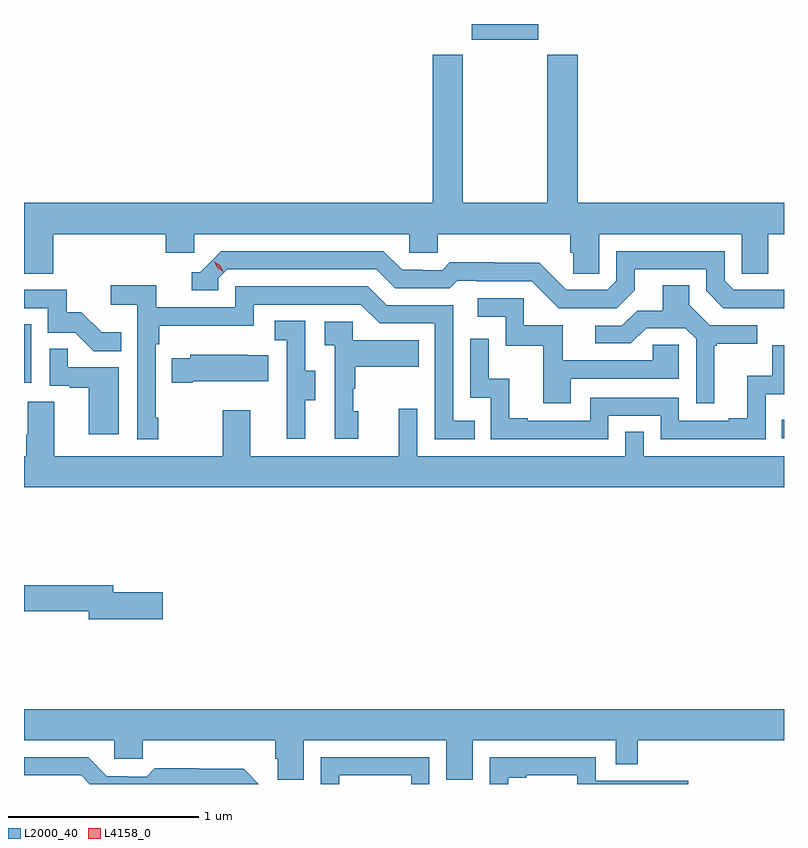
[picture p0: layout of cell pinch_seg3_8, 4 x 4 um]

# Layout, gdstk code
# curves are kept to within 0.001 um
import gdstk
lib = gdstk.Library(unit=1e-6, precision=1e-09)
def R(c, l, rs):  # rectangles x0, y0, x1, y1
    for r in rs: c.add(gdstk.rectangle(r[:2], r[2:], *l))
def P(c, l, *ps):  # polygons
    for p in ps: c.add(gdstk.Polygon(p, *l))
L2000_40 = (2000, 40)
L4158_0 = (4158, 0)

pinch_seg3_8 = lib.new_cell('pinch_seg3_8')
R(pinch_seg3_8, L2000_40, [(1130.251,742.467,1130.263,742.564), (1126.263,742.758,1126.3,743.065), (1128.62,744.563,1128.97,744.646)])
P(pinch_seg3_8, L2000_40, [(1126.418,743.54),(1127.009,743.54),(1127.009,743.442),(1127.16,743.442),(1127.16,743.54),(1128.291,743.54),(1128.291,743.442),(1128.441,743.442),(1128.441,743.54),(1129.139,743.54),(1129.139,743.442),(1129.153,743.442),(1129.153,743.332),(1129.29,743.332),(1129.29,743.54),(1130.04,743.54),(1130.04,743.332),(1130.179,743.332),(1130.179,743.54),(1130.263,743.54),(1130.263,743.704),(1129.178,743.704),(1129.178,744.484),(1129.018,744.484),(1129.018,743.704),(1128.573,743.704),(1128.573,744.484),(1128.413,744.484),(1128.413,743.704),(1126.263,743.704),(1126.263,743.332),(1126.418,743.332)],
  [(1130.263,743.247),(1129.998,743.247),(1129.95,743.295),(1129.95,743.451),(1129.38,743.451),(1129.38,743.295),(1129.332,743.247),(1129.116,743.247),(1128.974,743.389),(1128.738,743.389),(1128.738,743.392),(1128.505,743.392),(1128.463,743.349),(1128.36,743.349),(1128.36,743.352),(1128.253,743.352),(1128.154,743.451),(1127.301,743.451),(1127.19,743.34),(1127.147,743.34),(1127.147,743.244),(1127.286,743.244),(1127.286,743.307),(1127.334,743.355),(1128.117,743.355),(1128.216,743.256),(1128.505,743.256),(1128.544,743.295),(1128.643,743.295),(1128.643,743.292),(1128.936,743.292),(1129.077,743.151),(1129.383,743.151),(1129.477,743.245),(1129.477,743.355),(1129.854,743.355),(1129.854,743.241),(1129.944,743.151),(1130.263,743.15)],
  [(1126.969,742.573),(1126.956,742.573),(1126.956,742.961),(1126.976,742.961),(1126.976,743.057),(1127.472,743.057),(1127.472,743.169),(1128.036,743.169),(1128.135,743.07),(1128.426,743.07),(1128.426,742.461),(1128.635,742.461),(1128.635,742.557),(1128.522,742.557),(1128.522,743.166),(1128.172,743.166),(1128.073,743.265),(1127.376,743.265),(1127.376,743.154),(1126.958,743.154),(1126.958,743.27),(1126.719,743.27),(1126.719,743.168),(1126.86,743.168),(1126.86,742.461),(1126.969,742.461)],
  [(1129.897,742.953),(1129.909,742.953),(1129.909,742.964),(1130.122,742.964),(1130.122,743.061),(1129.872,743.061),(1129.765,743.168),(1129.765,743.27),(1129.625,743.27),(1129.625,743.138),(1129.49,743.138),(1129.41,743.058),(1129.269,743.058),(1129.269,742.965),(1129.456,742.965),(1129.537,743.046),(1129.743,743.046),(1129.8,742.989),(1129.8,742.65),(1129.897,742.65)],
  [(1126.775,743.023),(1126.671,743.023),(1126.564,743.13),(1126.488,743.13),(1126.488,743.247),(1126.263,743.247),(1126.263,743.151),(1126.389,743.151),(1126.389,743.022),(1126.533,743.022),(1126.631,742.924),(1126.775,742.924)],
  [(1129.141,742.779),(1129.71,742.779),(1129.71,742.959),(1129.573,742.959),(1129.573,742.875),(1129.099,742.875),(1129.099,743.061),(1128.894,743.061),(1128.894,743.202),(1128.651,743.202),(1128.651,743.106),(1128.798,743.106),(1128.798,742.953),(1128.997,742.953),(1128.997,742.65),(1129.141,742.65)],
  [(1127.743,742.666),(1127.797,742.666),(1127.797,742.821),(1127.742,742.821),(1127.742,743.084),(1127.583,743.084),(1127.583,742.981),(1127.646,742.981),(1127.646,742.677),(1127.645,742.677),(1127.645,742.464),(1127.743,742.464)],
  [(1128.022,742.608),(1127.997,742.608),(1127.997,742.727),(1128.007,742.727),(1128.007,742.841),(1128.341,742.841),(1128.341,742.981),(1127.994,742.981),(1127.994,743.079),(1127.847,743.079),(1127.847,742.955),(1127.898,742.955),(1127.898,742.464),(1128.022,742.464)],
  [(1129.338,742.584),(1129.614,742.584),(1129.614,742.461),(1130.166,742.461),(1130.166,742.697),(1130.263,742.697),(1130.263,742.956),(1130.202,742.956),(1130.202,742.795),(1130.069,742.795),(1130.069,742.57),(1129.973,742.57),(1129.973,742.557),(1129.71,742.557),(1129.71,742.68),(1129.242,742.68),(1129.242,742.557),(1128.913,742.557),(1128.913,742.57),(1128.818,742.57),(1128.818,742.778),(1128.708,742.778),(1128.708,742.99),(1128.612,742.99),(1128.612,742.68),(1128.72,742.68),(1128.72,742.461),(1129.338,742.461)],
  [(1126.762,742.839),(1126.493,742.839),(1126.493,742.937),(1126.398,742.937),(1126.398,742.743),(1126.505,742.743),(1126.505,742.731),(1126.604,742.731),(1126.604,742.488),(1126.762,742.488)],
  [(1127.152,742.766),(1127.549,742.766),(1127.549,742.903),(1127.441,742.903),(1127.441,742.906),(1127.139,742.906),(1127.139,742.888),(1127.041,742.888),(1127.041,742.759),(1127.152,742.759)],
  [(1130.263,742.372),(1129.524,742.372),(1129.524,742.499),(1129.428,742.499),(1129.428,742.372),(1128.333,742.372),(1128.333,742.621),(1128.236,742.621),(1128.236,742.372),(1127.455,742.372),(1127.455,742.612),(1127.308,742.612),(1127.308,742.372),(1126.423,742.372),(1126.423,742.658),(1126.283,742.658),(1126.283,742.484),(1126.276,742.484),(1126.276,742.372),(1126.263,742.372),(1126.263,742.208),(1130.263,742.208)],
  [(1126.993,741.656),(1126.732,741.656),(1126.732,741.692),(1126.263,741.692),(1126.263,741.556),(1126.604,741.556),(1126.604,741.514),(1126.993,741.514)],
  [(1127.736,740.876),(1128.486,740.876),(1128.486,740.668),(1128.625,740.668),(1128.625,740.876),(1129.377,740.876),(1129.377,740.749),(1129.493,740.749),(1129.493,740.876),(1130.263,740.876),(1130.263,741.04),(1126.263,741.04),(1126.263,740.876),(1126.737,740.876),(1126.737,740.778),(1126.887,740.778),(1126.887,740.876),(1127.585,740.876),(1127.585,740.778),(1127.599,740.778),(1127.599,740.668),(1127.736,740.668)],
  [(1127.42,740.725),(1127.184,740.725),(1127.184,740.728),(1126.951,740.728),(1126.909,740.685),(1126.806,740.685),(1126.806,740.688),(1126.699,740.688),(1126.6,740.787),(1126.263,740.787),(1126.263,740.691),(1126.563,740.691),(1126.608,740.646),(1127.499,740.646)],
  [(1127.923,740.691),(1128.3,740.691),(1128.3,740.646),(1128.396,740.646),(1128.396,740.787),(1127.826,740.787),(1127.826,740.646),(1127.923,740.646)],
  [(1128.811,740.679),(1128.907,740.679),(1128.907,740.691),(1129.176,740.691),(1129.176,740.646),(1129.759,740.646),(1129.759,740.664),(1129.272,740.664),(1129.272,740.787),(1128.714,740.787),(1128.714,740.646),(1128.811,740.646)])
P(pinch_seg3_8, L4158_0, [(1127.311,743.342),(1127.281,743.362),(1127.264,743.394),(1127.264,743.395),(1127.265,743.395),(1127.295,743.375),(1127.312,743.343),(1127.312,743.342)])

lib.write_gds('pinch_seg3_8.gds')
